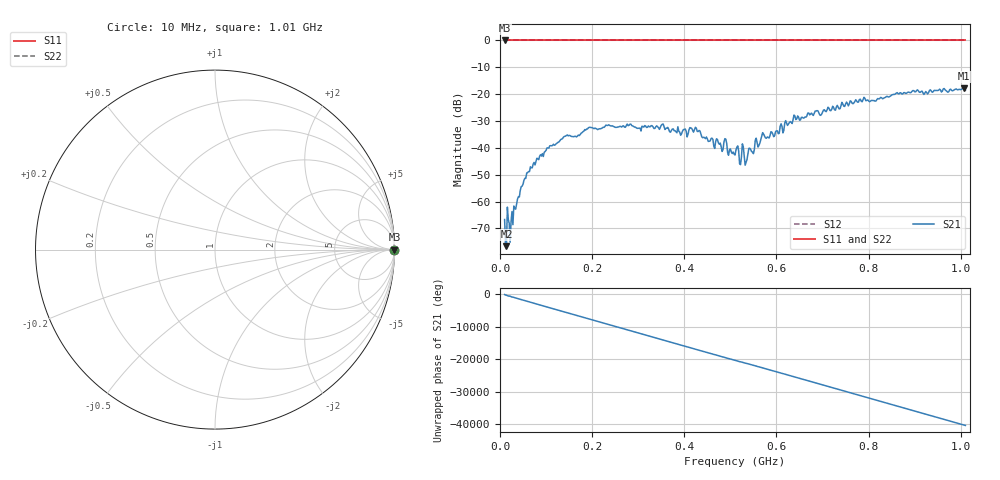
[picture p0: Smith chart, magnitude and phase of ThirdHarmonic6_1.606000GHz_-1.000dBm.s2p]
! 8/16/2025 7:09:35 PM
! C:\ANRITSUVNA\TEMP\TEMP.S2P
! CHANNEL.1
! TR.MEASUREMENT
! RAW.DATA
! RF.CORRECTION.OFF
! AVERAGING.OFF
! IF.BANDWIDTH: 5KHZ
! SWEEPTYPE:  FREQ.SWEEP(Linear)
! Reference Plane Port Info
! PORT:  PORT1  PORT2
! DISTANCE:  0  m  0  m
! TIME:  0  s  0  s
! PHASE.OFFSET:  0  deg.  0  deg.
! LOSS:  0  dB  0  dB
! REF.LOSS:  0  dB  0  dB
! REF.FREQ:  0  Hz  0  Hz
! Power Info
! POWER:  -20  dBm  -20  dBm
! EFF.POWER:  -20  dBm  -20  dBm
! SOURCE.ATTEN:  0  dB  0  dB
! TEST.ATTEN:  0  dB  0  dB
# GHZ S RI R 50.0
! FREQ.GHZ  S11RE  S11IM  S21RE  S21IM  S12RE  S12IM  S22RE  S22IM
!; PortSelection: Port_12
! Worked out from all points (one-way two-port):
!   501 points, 10 MHz to 1.01 GHz, reference 50 ohm
!   highest |S21| = -17.85 dB at 1.006 GHz (marker M1); lowest = -76.6 dB at 14 MHz (marker M2)
!   lowest |S11| = 0.0 dB at 10 MHz (marker M3)
!   |S11| at or under -10 dB: nowhere
!   |S22| runs from 0.0 to 0.0 dB; largest |S21 - S12| = 1.1
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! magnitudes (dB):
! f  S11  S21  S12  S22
! 10 MHz  0.0  -66.7  0.0  0.0
! 14 MHz  0.0  -76.6  0.0  0.0
! 24 MHz  0.0  -67.5  0.0  0.0
! 34 MHz  0.0  -62.9  0.0  0.0
! 56 MHz  0.0  -51.4  0.0  0.0
! 84 MHz  0.0  -44.4  0.0  0.0
! 142 MHz  0.0  -35.6  0.0  0.0
! 178 MHz  0.0  -34.3  0.0  0.0
! 234 MHz  0.0  -31.7  0.0  0.0
! 344 MHz  0.0  -32.5  0.0  0.0
! 428 MHz  0.0  -33.9  0.0  0.0
! 442 MHz  0.0  -36.1  0.0  0.0
! 488 MHz  0.0  -36.6  0.0  0.0
! 510 MHz  0.0  -42.7  0.0  0.0
! 534 MHz  0.0  -45.4  0.0  0.0
! 570 MHz  0.0  -34.3  0.0  0.0
! 596 MHz  0.0  -35.5  0.0  0.0
! 642 MHz  0.0  -29.5  0.0  0.0
! 678 MHz  0.0  -27.6  0.0  0.0
! 844 MHz  0.0  -21.1  0.0  0.0
! 1.006 GHz  0.0  -17.8  0.0  0.0
! 1.01 GHz  0.0  -18.6  0.0  0.0
